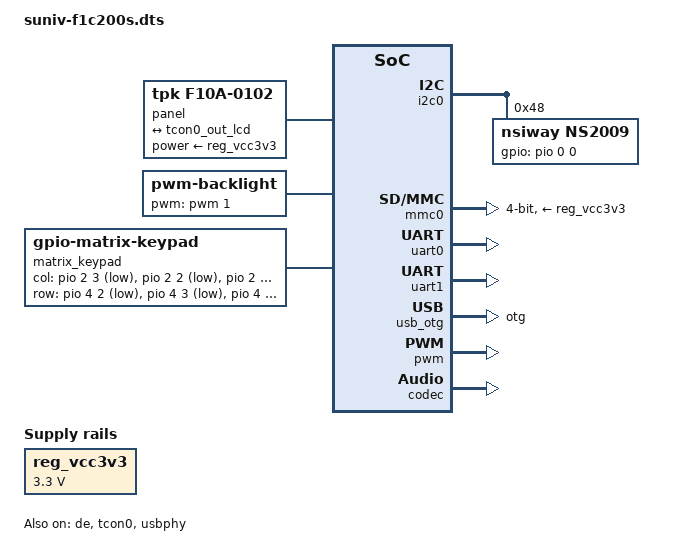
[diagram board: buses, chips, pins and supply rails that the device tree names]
// SPDX-License-Identifier: (GPL-2.0+ OR X11)
/*
 * Copyright 2018 Icenowy Zheng <icenowy@aosc.io>
 */

/dts-v1/;
#include "suniv-f1c100s-licheepi-nano.dts"

#include <dt-bindings/gpio/gpio.h>
#include <dt-bindings/pwm/pwm.h>
#include <dt-bindings/input/input.h>
#include <dt-bindings/interrupt-controller/irq.h>
/ {
	panel: panel {
		//compatible = "innolux,at070tn92", "simple-panel";
		compatible = "tpk,f10a-0102", "simple-panel";
		#address-cells = <1>;
		#size-cells = <0>;
		power-supply = <&reg_vcc3v3>;
		port@0 {
			reg = <0>;
			#address-cells = <1>;
			#size-cells = <0>;

			panel_input: endpoint@0 {
				reg = <0>;
				remote-endpoint = <&tcon0_out_lcd>;
			};
		};
	};

	reg_vcc3v3: vcc3v3 {
		compatible = "regulator-fixed";
		regulator-name = "vcc3v3";
		regulator-min-microvolt = <3300000>;
		regulator-max-microvolt = <3300000>;
	};
	backlight {
		compatible = "pwm-backlight";
		pwms = <&pwm 1 500000 0>;
		brightness-levels = <0 4 8 16 32 64 128 255>;
		default-brightness-level = <6>;
	};
	matrix_keypad: matrix-keypad {
		status = "disable";
		compatible = "gpio-matrix-keypad";
		keypad,num-rows = <4>;
		keypad,num-columns = <4>;

		/* 根据实际硬件配置引脚 */
		col-gpios = <&pio 2 3 1
			&pio 2 2 1
			&pio 2 1 1
			&pio 2 0 1
		>;
		row-gpios = <&pio 4 2 1
			&pio 4 3 1
			&pio 4 4 1
			&pio 4 5 1
		>;

		/* sample keymap 键值 */
		/* row << 24 | column << 16 | key-code */
		linux,keymap = <
			0x0000004f /* row 0, col 0, KEY_KP1 */
			0x0001004b /* row 0, col 1, KEY_KP4 */
			0x00020047 /* row 0, col 2, KEY_KP7*/
			0x0003003c /* row 0, col 3,  */
			0x01000050 /* row 1, col 0, KEY_KP2 */
			0x0101004c /* row 1, col 1, KEY_KP5*/
			0x01020048 /* row 1, col 2, KEY_KP8*/
			0x01030052 /* row 1, col 3, KEY_KP0*/
			0x02000051 /* row 2, col 0, KEY_KP3 */
			0x0201004d /* row 2, col 1, KEY_KP6 */
			0x02020049 /* row 2, col 2, KEY_KP9*/
			0x0203003b /* row 2, col 3, # */
			0x0300001f /* row 3, col 0, S */
			0x0301003e /* row 3, col 1,  */
			0x0302001e /* row 3, col 2, A */
			0x03030013 /* row 3, col 3, R */
		>;

		// gpio-activelow;
		/*wakeup-source;*/
		debounce-delay-ms = <30>;
		col-scan-delay-us = <100>;
		linux,no-autorepeat;
	};
	chosen {
		#address-cells = <0x1>;
		#size-cells = <0x1>;
		ranges;
		simplefb_lcd: framebuffer-lcd@0 {
			compatible = "allwinner,simple-framebuffer",
				     "simple-framebuffer";
			allwinner,pipeline = "de_be0-lcd0";
			reg = <0 (1024*600*2)>;
            width = <1024>;
            height = <600>;
            stride = <(1024*2)>;
            format = "r5g6b5";
			clocks = <&ccu CLK_BUS_LCD>, <&ccu CLK_BUS_DE_BE>,
				 <&ccu CLK_TCON>, <&ccu CLK_DE_BE>,
				 <&ccu CLK_DRAM_DE_BE>;
			status = "disabled";
		};
	};
};

&de {
	status = "okay";
};
&i2c0 {
	pinctrl-0 = <&i2c0_pins>;
    pinctrl-names = "default";
    status = "okay";

	ns2009: ns2009@48 {
		compatible = "nsiway,ns2009";
		gpios = <&pio 0 0 GPIO_ACTIVE_HIGH>;
		reg = <0x48>;
	};

    // rtc@51 {
    //     compatible = "nxp,pcf8563";
    //     reg = <0x51>;
    // };
};
&mmc0 {
	vmmc-supply = <&reg_vcc3v3>;
	bus-width = <4>;
	broken-cd;
	status = "okay";
};

&otg_sram {
	status = "okay";
};

// &spi0 {
// 	pinctrl-names = "default";
// 	pinctrl-0 = <&spi0_pins_a>;
// 	status = "okay";

// 	flash@0 {
// 		#address-cells = <1>;
// 		#size-cells = <1>;
// 		compatible = "winbond,w25q128", "jedec,spi-nor";
// 		reg = <0>;
// 		spi-max-frequency = <50000000>;
// 		partitions {
// 			compatible = "fixed-partitions";
// 			#address-cells = <1>;
// 			#size-cells = <1>;

// 			partition@0 {
// 				label = "u-boot";
// 				reg = <0x000000 0x50000>;
// 				read-only;
// 			};

// 			partition@50000 {
// 				label = "dtb";
// 				reg = <0x50000 0x10000>;
// 				read-only;
// 			};

// 			partition@60000 {
// 				label = "kernel";
// 				reg = <0x60000 0x320000>;
// 				read-only;
// 			};

// 			partition@380000 {
// 				label = "rootfs";
// 				reg = <0x380000 0xc00000>;
// 			};

// 			partition@f80000 {
// 				label = "overlay";
// 				reg = <0xf80000 0x80000>;
// 			};
// 		};
// 	};
// };

&tcon0 {
	pinctrl-names = "default";
	pinctrl-0 = <&lcd_rgb565_pins>;
	status = "okay";
};

&tcon0_out {
	tcon0_out_lcd: endpoint@0 {
		reg = <0>;
		remote-endpoint = <&panel_input>;
	};
};

&uart0 {
	pinctrl-names = "default";
	pinctrl-0 = <&uart0_pe_pins>;
	status = "okay";
};
&uart1 {
	pinctrl-names = "default";
	pinctrl-0 = <&uart1_pins_a>;
	status = "okay";
};
// &uart2 {
// 	pinctrl-names = "default";
// 	pinctrl-0 = <&uart2_pe_pins>;
// 	status = "okay";
// };

&usb_otg {
	//dr_mode = "peripheral";
	dr_mode = "otg";
	status = "okay";
};

&usbphy {
	usb0_id_det-gpio = <&pio 4 10 GPIO_ACTIVE_HIGH>; /* PE10 */
	status = "okay";
};

&pwm {
	pinctrl-names = "default";
	pinctrl-0 = <&pwm1_pins>;
	status = "okay";
};
&codec {
	allwinner,audio-routing =
		"Headphone", "HP",
		"Headphone", "HPCOM",
		"MIC", "Mic";
	status = "okay";
};
&matrix_keypad{
	status = "okay";
};
